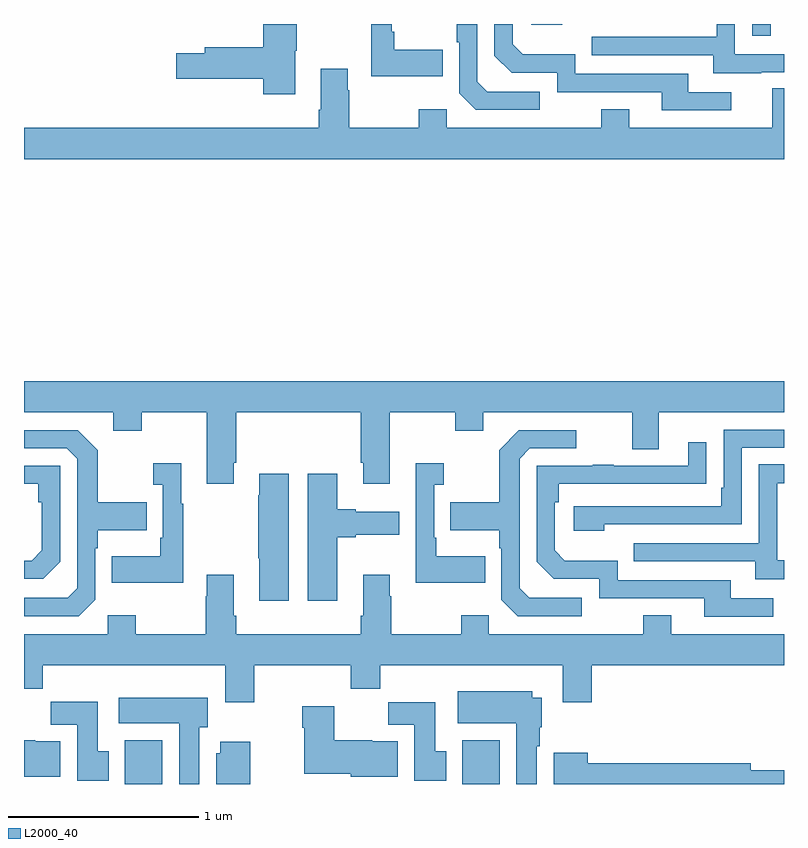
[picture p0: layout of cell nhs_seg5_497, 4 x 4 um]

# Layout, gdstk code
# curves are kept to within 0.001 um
import gdstk
lib = gdstk.Library(unit=1e-6, precision=1e-09)
def R(c, l, rs):  # rectangles x0, y0, x1, y1
    for r in rs: c.add(gdstk.rectangle(r[:2], r[2:], *l))
def P(c, l, *ps):  # polygons
    for p in ps: c.add(gdstk.Polygon(p, *l))
L2000_40 = (2000, 40)

nhs_seg5_497 = lib.new_cell('nhs_seg5_497')
R(nhs_seg5_497, L2000_40, [(143.531,858.799,143.728,859.03), (145.307,858.799,145.504,859.03), (146.832,862.737,146.929,862.799), (145.671,862.796,145.832,862.799)])
P(nhs_seg5_497, L2000_40, [(144.427,862.659),(144.435,862.659),(144.435,862.799),(144.26,862.799),(144.26,862.676),(143.951,862.676),(143.951,862.646),(143.802,862.646),(143.802,862.511),(144.26,862.511),(144.26,862.428),(144.427,862.428)],
  [(146.881,862.545),(147,862.545),(147,862.641),(146.742,862.641),(146.742,862.799),(146.646,862.799),(146.646,862.731),(145.987,862.731),(145.987,862.635),(146.627,862.635),(146.627,862.541),(146.881,862.541)],
  [(146.722,862.44),(146.497,862.44),(146.497,862.536),(145.902,862.536),(145.902,862.639),(145.625,862.639),(145.572,862.692),(145.572,862.799),(145.476,862.799),(145.476,862.632),(145.566,862.542),(145.806,862.542),(145.806,862.44),(146.357,862.44),(146.357,862.344),(146.722,862.344)],
  [(145.714,862.443),(145.437,862.443),(145.386,862.494),(145.386,862.799),(145.278,862.799),(145.278,862.703),(145.29,862.703),(145.29,862.434),(145.377,862.347),(145.714,862.347)],
  [(145.205,862.663),(144.949,862.663),(144.949,862.759),(144.936,862.759),(144.936,862.799),(144.828,862.799),(144.828,862.523),(145.205,862.523)],
  [(146.038,862.351),(146.038,862.252),(145.224,862.252),(145.224,862.351),(145.078,862.351),(145.078,862.252),(144.711,862.252),(144.711,862.451),(144.703,862.451),(144.703,862.564),(144.563,862.564),(144.563,862.348),(144.551,862.348),(144.551,862.252),(143,862.252),(143,862.088),(147,862.088),(147,862.46),(146.939,862.46),(146.939,862.252),(146.185,862.252),(146.185,862.351)],
  [(143,860.756),(143.471,860.756),(143.471,860.657),(143.619,860.657),(143.619,860.756),(143.963,860.756),(143.963,860.379),(144.103,860.379),(144.103,860.491),(144.116,860.491),(144.116,860.756),(144.773,860.756),(144.773,860.491),(144.785,860.491),(144.785,860.379),(144.925,860.379),(144.925,860.756),(145.27,860.756),(145.27,860.657),(145.417,860.657),(145.417,860.756),(146.201,860.756),(146.201,860.562),(146.341,860.562),(146.341,860.756),(147,860.756),(147,860.92),(143,860.92)],
  [(146.054,860.166),(146.778,860.166),(146.778,860.568),(147,860.568),(147,860.664),(146.682,860.664),(146.682,860.359),(146.669,860.359),(146.669,860.262),(145.893,860.262),(145.893,860.132),(146.054,860.132)],
  [(143.376,859.77),(143.376,860.039),(143.389,860.039),(143.389,860.135),(143.645,860.135),(143.645,860.283),(143.389,860.283),(143.389,860.555),(143.283,860.661),(143,860.661),(143,860.565),(143.226,860.565),(143.28,860.511),(143.28,859.83),(143.229,859.779),(143,859.779),(143,859.683),(143.289,859.683)],
  [(145.936,859.779),(145.659,859.779),(145.608,859.83),(145.608,860.511),(145.662,860.565),(145.906,860.565),(145.906,860.661),(145.605,860.661),(145.5,860.555),(145.5,860.283),(145.243,860.283),(145.243,860.135),(145.5,860.135),(145.5,860.039),(145.512,860.039),(145.512,859.77),(145.599,859.683),(145.936,859.683)],
  [(146.944,859.776),(146.719,859.776),(146.719,859.872),(146.124,859.872),(146.124,859.975),(145.847,859.975),(145.794,860.028),(145.794,860.282),(145.814,860.282),(145.814,860.379),(146.591,860.38),(146.591,860.599),(146.495,860.599),(146.495,860.475),(146.105,860.475),(146.105,860.48),(145.993,860.48),(145.993,860.475),(145.698,860.475),(145.698,859.968),(145.788,859.878),(146.028,859.878),(146.028,859.776),(146.579,859.776),(146.579,859.68),(146.944,859.68)],
  [(145.427,859.999),(145.171,859.999),(145.171,860.095),(145.158,860.095),(145.158,860.375),(145.21,860.375),(145.21,860.488),(145.062,860.488),(145.062,859.859),(145.427,859.859)],
  [(143.839,860.275),(143.827,860.275),(143.827,860.488),(143.679,860.488),(143.679,860.375),(143.73,860.375),(143.73,860.095),(143.718,860.095),(143.718,859.999),(143.461,859.999),(143.461,859.859),(143.839,859.859)],
  [(147,859.977),(146.964,859.977),(146.964,860.382),(147,860.382),(147,860.483),(146.868,860.483),(146.868,860.067),(146.209,860.067),(146.209,859.971),(146.849,859.971),(146.849,859.877),(147,859.877)],
  [(143.19,859.968),(143.19,860.475),(143,860.475),(143,860.379),(143.074,860.379),(143.074,860.282),(143.094,860.282),(143.094,860.028),(143.041,859.975),(143,859.975),(143,859.878),(143.1,859.878)],
  [(144.649,860.099),(144.745,860.099),(144.745,860.111),(144.976,860.111),(144.976,860.233),(144.745,860.233),(144.745,860.246),(144.649,860.246),(144.649,860.431),(144.494,860.431),(144.494,859.764),(144.649,859.764)],
  [(144.394,860.431),(144.239,860.431),(144.239,860.318),(144.232,860.318),(144.232,859.987),(144.239,859.987),(144.239,859.764),(144.394,859.764)],
  [(145.446,859.687),(145.3,859.687),(145.3,859.588),(144.933,859.588),(144.933,859.787),(144.925,859.787),(144.925,859.9),(144.785,859.9),(144.785,859.684),(144.773,859.684),(144.773,859.588),(144.116,859.588),(144.116,859.684),(144.103,859.684),(144.103,859.9),(143.963,859.9),(143.963,859.787),(143.956,859.787),(143.956,859.588),(143.589,859.588),(143.589,859.687),(143.442,859.687),(143.442,859.588),(143,859.588),(143,859.3),(143.099,859.3),(143.099,859.424),(144.059,859.424),(144.059,859.23),(144.212,859.23),(144.212,859.424),(144.719,859.424),(144.719,859.3),(144.875,859.3),(144.875,859.424),(145.835,859.424),(145.835,859.23),(145.988,859.23),(145.988,859.424),(147,859.424),(147,859.588),(146.407,859.588),(146.407,859.687),(146.26,859.687),(146.26,859.588),(145.446,859.588)],
  [(145.699,858.998),(145.714,858.998),(145.714,859.098),(145.726,859.098),(145.726,859.252),(145.675,859.252),(145.675,859.288),(145.283,859.288),(145.283,859.118),(145.592,859.118),(145.592,858.799),(145.699,858.799)],
  [(143.923,859.098),(143.968,859.098),(143.968,859.252),(143.499,859.252),(143.499,859.118),(143.816,859.118),(143.816,858.799),(143.923,858.799)],
  [(143.446,858.972),(143.389,858.972),(143.389,859.231),(143.14,859.231),(143.14,859.112),(143.279,859.112),(143.279,858.816),(143.446,858.816)],
  [(145.222,858.972),(145.165,858.972),(145.165,859.23),(144.916,859.23),(144.916,859.112),(145.055,859.112),(145.055,858.816),(145.222,858.816)],
  [(144.967,859.024),(144.834,859.024),(144.834,859.03),(144.634,859.03),(144.634,859.207),(144.464,859.207),(144.464,859.094),(144.476,859.094),(144.476,858.854),(144.72,858.854),(144.72,858.836),(144.967,858.836)],
  [(143.191,859.024),(143.058,859.024),(143.058,859.03),(143,859.03),(143,858.836),(143.191,858.836)],
  [(144.19,859.021),(144.032,859.021),(144.032,858.96),(144.011,858.96),(144.011,858.799),(144.19,858.799)],
  [(147,858.872),(146.824,858.872),(146.824,858.908),(145.966,858.908),(145.966,858.964),(145.787,858.964),(145.787,858.799),(147,858.799)])

lib.write_gds('nhs_seg5_497.gds')
